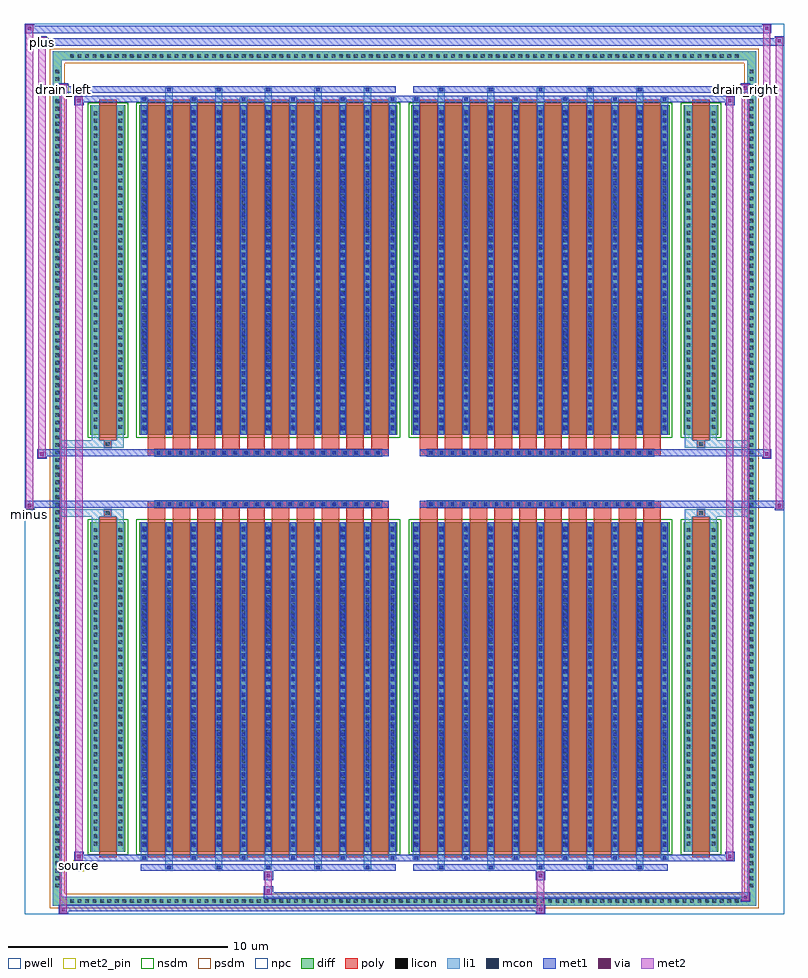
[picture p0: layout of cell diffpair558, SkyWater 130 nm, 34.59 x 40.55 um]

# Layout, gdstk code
import gdstk
lib = gdstk.Library(unit=1e-6, precision=5e-09)
def R(c, l, rs):  # rectangles x0, y0, x1, y1
    for r in rs: c.add(gdstk.rectangle(r[:2], r[2:], *l))
def A(c, l, x, y, w, h, nx, ny, dx, dy):  # array of equal rectangles
    R(c, l, [(x+i*dx, y+j*dy, x+i*dx+w, y+j*dy+h) for i in range(nx) for j in range(ny)])
def P(c, l, *ps):  # polygons
    for p in ps: c.add(gdstk.Polygon(p, *l))
pwell = (64, 44)
diff = (65, 20)
poly = (66, 20)
licon = (66, 44)
li1 = (67, 20)
mcon = (67, 44)
met1 = (68, 20)
via = (68, 44)
met2_pin = (69, 16)
met2 = (69, 20)
nsdm = (93, 44)
psdm = (94, 20)
npc = (95, 20)

diffpair558 = lib.new_cell('diffpair558')
R(diffpair558, pwell, [(-17.28,-19.84,17.28,20.71), (-14.6,-18.03,-0.01,-0.805), (0.01,-18.03,14.6,-0.805), (-14.6,0.805,-0.01,18.03), (0.01,0.805,14.6,18.03)])
A(diffpair558, diff, -15.335, -19.44, 0.41, 0.41, 90, 2, 0.34, 38.47)
A(diffpair558, diff, -16.01, -18.735, 0.41, 0.41, 1, 110, 0, 0.34)
A(diffpair558, diff, 15.6, -18.735, 0.41, 0.41, 1, 110, 0, 0.34)
R(diffpair558, diff, [(-15.335,-19.44,15.335,-19.03), (-16.01,-18.735,-15.6,18.735), (15.6,-18.735,16.01,18.735), (-14.29,-16.985,-12.71,-1.985), (-12.07,-16.985,-0.32,-1.985), (0.32,-16.985,12.07,-1.985), (12.71,-16.985,14.29,-1.985), (-14.29,1.985,-12.71,16.985), (-12.07,1.985,-0.32,16.985), (0.32,1.985,12.07,16.985), (12.71,1.985,14.29,16.985), (-15.335,19.03,15.335,19.44)])
P(diffpair558, diff, [(16.01,19.44),(-16.01,19.44),(-16.01,-19.03),(-15.6,-19.03),(-15.6,19.03),(15.6,19.03),(15.6,-19.03),(-15.6,-19.03),(-16.01,-19.03),(-16.01,-19.44),(16.01,-19.44)])
A(diffpair558, poly, -11.68, -17.235, 0.8, 15.5, 10, 2, 1.13, 18.97)
A(diffpair558, poly, 0.71, -17.235, 0.8, 15.5, 10, 2, 1.13, 18.97)
A(diffpair558, poly, -11.68, -1.735, 0.8, 0.4, 10, 2, 1.13, 3.07)
A(diffpair558, poly, 0.71, -1.735, 0.8, 0.4, 10, 2, 1.13, 3.07)
A(diffpair558, poly, -11.36, -1.335, 0.33, 0.33, 21, 2, 0.5, 2.34)
A(diffpair558, poly, 1.03, -1.335, 0.33, 0.33, 21, 2, 0.5, 2.34)
R(diffpair558, poly, [(-13.9,-17.235,-13.1,-1.735), (13.1,-17.235,13.9,-1.735), (-13.665,-1.735,-13.335,-1.405), (-13.665,-1.735,-13.335,-1.405), (13.335,-1.735,13.665,-1.405), (13.335,-1.735,13.665,-1.405), (-11.68,-1.335,-0.71,-1.005), (0.71,-1.335,11.68,-1.005), (-11.68,1.005,-0.71,1.335), (0.71,1.005,11.68,1.335), (-13.665,1.405,-13.335,1.735), (-13.665,1.405,-13.335,1.735), (13.335,1.405,13.665,1.735), (13.335,1.405,13.665,1.735), (-13.9,1.735,-13.1,17.235), (13.1,1.735,13.9,17.235)])
A(diffpair558, licon, -15.215, -19.32, 0.17, 0.17, 90, 2, 0.34, 38.47)
A(diffpair558, licon, -15.89, -18.615, 0.17, 0.17, 1, 110, 0, 0.34)
A(diffpair558, licon, 15.72, -18.615, 0.17, 0.17, 1, 110, 0, 0.34)
A(diffpair558, licon, -14.15, -16.71, 0.17, 0.17, 1, 43, 0, 0.34)
A(diffpair558, licon, -13.02, -16.71, 0.17, 0.17, 1, 43, 0, 0.34)
A(diffpair558, licon, -11.93, -16.71, 0.17, 0.17, 11, 43, 1.13, 0.34)
A(diffpair558, licon, 0.46, -16.71, 0.17, 0.17, 11, 43, 1.13, 0.34)
A(diffpair558, licon, 12.85, -16.71, 0.17, 0.17, 1, 43, 0, 0.34)
A(diffpair558, licon, 13.98, -16.71, 0.17, 0.17, 1, 43, 0, 0.34)
A(diffpair558, licon, -11.28, -1.255, 0.17, 0.17, 21, 2, 0.5, 2.34)
A(diffpair558, licon, 1.11, -1.255, 0.17, 0.17, 21, 2, 0.5, 2.34)
A(diffpair558, licon, -14.15, 2.26, 0.17, 0.17, 1, 43, 0, 0.34)
A(diffpair558, licon, -13.02, 2.26, 0.17, 0.17, 1, 43, 0, 0.34)
A(diffpair558, licon, -11.93, 2.26, 0.17, 0.17, 11, 43, 1.13, 0.34)
A(diffpair558, licon, 0.46, 2.26, 0.17, 0.17, 11, 43, 1.13, 0.34)
A(diffpair558, licon, 12.85, 2.26, 0.17, 0.17, 1, 43, 0, 0.34)
A(diffpair558, licon, 13.98, 2.26, 0.17, 0.17, 1, 43, 0, 0.34)
R(diffpair558, licon, [(-13.585,-1.655,-13.415,-1.485), (13.415,-1.655,13.585,-1.485), (-13.585,1.485,-13.415,1.655), (13.415,1.485,13.585,1.655)])
A(diffpair558, li1, -15.295, -19.4, 0.33, 0.33, 90, 2, 0.34, 38.47)
A(diffpair558, li1, -15.97, -18.695, 0.33, 0.33, 1, 110, 0, 0.34)
A(diffpair558, li1, 15.64, -18.695, 0.33, 0.33, 1, 110, 0, 0.34)
A(diffpair558, li1, -10.88, -17.79, 0.33, 0.805, 5, 2, 2.26, 34.775)
A(diffpair558, li1, -10.8, -17.79, 0.17, 0.17, 5, 2, 2.26, 35.41)
A(diffpair558, li1, 1.51, -17.79, 0.33, 0.805, 5, 2, 2.26, 34.775)
A(diffpair558, li1, 1.59, -17.79, 0.17, 0.17, 5, 2, 2.26, 35.41)
A(diffpair558, li1, -12.01, -17.36, 0.33, 0.375, 6, 2, 2.26, 34.345)
A(diffpair558, li1, -11.93, -17.36, 0.17, 0.17, 6, 2, 2.26, 34.55)
A(diffpair558, li1, 0.38, -17.36, 0.33, 0.375, 6, 2, 2.26, 34.345)
A(diffpair558, li1, 0.46, -17.36, 0.17, 0.17, 6, 2, 2.26, 34.55)
A(diffpair558, li1, -12.01, -16.985, 0.33, 15, 11, 2, 1.13, 18.97)
A(diffpair558, li1, 0.38, -16.985, 0.33, 15, 11, 2, 1.13, 18.97)
A(diffpair558, li1, -14.23, -16.79, 0.33, 0.33, 1, 43, 0, 0.34)
A(diffpair558, li1, -13.1, -16.79, 0.33, 0.33, 1, 43, 0, 0.34)
A(diffpair558, li1, -12.01, -16.79, 0.33, 0.33, 11, 43, 1.13, 0.34)
A(diffpair558, li1, 0.38, -16.79, 0.33, 0.33, 11, 43, 1.13, 0.34)
A(diffpair558, li1, 12.77, -16.79, 0.33, 0.33, 1, 43, 0, 0.34)
A(diffpair558, li1, 13.9, -16.79, 0.33, 0.33, 1, 43, 0, 0.34)
A(diffpair558, li1, -11.93, -16.77, 0.17, 0.17, 11, 41, 1.13, 0.36)
A(diffpair558, li1, -11.93, -16.77, 0.17, 14.57, 11, 2, 1.13, 18.97)
A(diffpair558, li1, 0.46, -16.77, 0.17, 0.17, 11, 41, 1.13, 0.36)
A(diffpair558, li1, 0.46, -16.77, 0.17, 14.57, 11, 2, 1.13, 18.97)
A(diffpair558, li1, -11.36, -1.335, 0.33, 0.33, 21, 2, 0.5, 2.34)
A(diffpair558, li1, 1.03, -1.335, 0.33, 0.33, 21, 2, 0.5, 2.34)
A(diffpair558, li1, -14.23, 2.18, 0.33, 0.33, 1, 43, 0, 0.34)
A(diffpair558, li1, -13.1, 2.18, 0.33, 0.33, 1, 43, 0, 0.34)
A(diffpair558, li1, -12.01, 2.18, 0.33, 0.33, 11, 43, 1.13, 0.34)
A(diffpair558, li1, 0.38, 2.18, 0.33, 0.33, 11, 43, 1.13, 0.34)
A(diffpair558, li1, 12.77, 2.18, 0.33, 0.33, 1, 43, 0, 0.34)
A(diffpair558, li1, 13.9, 2.18, 0.33, 0.33, 1, 43, 0, 0.34)
A(diffpair558, li1, -11.93, 2.2, 0.17, 0.17, 11, 41, 1.13, 0.36)
A(diffpair558, li1, 0.46, 2.2, 0.17, 0.17, 11, 41, 1.13, 0.36)
R(diffpair558, li1, [(-16.01,-19.44,-15.6,-19.03), (-16.01,-19.44,-15.6,-19.03), (-15.6,-19.44,15.6,-19.03), (15.6,-19.44,16.01,-19.03), (15.6,-19.44,16.01,-19.03), (-16.01,-19.03,-15.6,19.03), (15.6,-19.03,16.01,19.03), (-14.23,-16.985,-13.9,-1.985), (-13.1,-16.985,-12.77,-1.985), (12.77,-16.985,13.1,-1.985), (13.9,-16.985,14.23,-1.985), (-14.23,-1.985,-13.9,-1.405), (-13.1,-1.985,-12.77,-1.405), (12.77,-1.985,13.1,-1.405), (13.9,-1.985,14.23,-1.405), (-16.01,-1.735,-13.665,-1.405), (-14.23,-1.735,-13.665,-1.405), (-13.665,-1.735,-13.335,-1.405), (-13.335,-1.735,-12.77,-1.405), (12.77,-1.735,13.335,-1.405), (13.335,-1.735,13.665,-1.405), (13.335,-1.735,16.01,-1.405), (13.665,-1.735,14.23,-1.405), (-16.01,1.405,-13.665,1.735), (-14.23,1.405,-13.665,1.735), (-14.23,1.405,-13.9,1.985), (-13.665,1.405,-13.335,1.735), (-13.335,1.405,-12.77,1.735), (-13.1,1.405,-12.77,1.985), (12.77,1.405,13.335,1.735), (12.77,1.405,13.1,1.985), (13.335,1.405,13.665,1.735), (13.335,1.405,16.01,1.735), (13.665,1.405,14.23,1.735), (13.9,1.405,14.23,1.985), (-14.23,1.985,-13.9,16.985), (-13.1,1.985,-12.77,16.985), (12.77,1.985,13.1,16.985), (13.9,1.985,14.23,16.985), (-16.01,19.03,-15.6,19.44), (-16.01,19.03,-15.6,19.44), (-15.6,19.03,15.6,19.44), (15.6,19.03,16.01,19.44), (15.6,19.03,16.01,19.44)])
A(diffpair558, mcon, -10.8, -17.79, 0.17, 0.17, 5, 2, 2.26, 35.41)
A(diffpair558, mcon, 1.59, -17.79, 0.17, 0.17, 5, 2, 2.26, 35.41)
A(diffpair558, mcon, -11.93, -17.36, 0.17, 0.17, 6, 2, 2.26, 34.55)
A(diffpair558, mcon, 0.46, -17.36, 0.17, 0.17, 6, 2, 2.26, 34.55)
A(diffpair558, mcon, -11.93, -16.77, 0.17, 0.17, 11, 41, 1.13, 0.36)
A(diffpair558, mcon, 0.46, -16.77, 0.17, 0.17, 11, 41, 1.13, 0.36)
A(diffpair558, mcon, -11.28, -1.255, 0.17, 0.17, 21, 2, 0.5, 2.34)
A(diffpair558, mcon, 1.11, -1.255, 0.17, 0.17, 21, 2, 0.5, 2.34)
A(diffpair558, mcon, -11.93, 2.2, 0.17, 0.17, 11, 41, 1.13, 0.36)
A(diffpair558, mcon, 0.46, 2.2, 0.17, 0.17, 11, 41, 1.13, 0.36)
A(diffpair558, met1, -10.86, -17.85, 0.29, 0.29, 5, 2, 2.26, 35.41)
A(diffpair558, met1, 1.53, -17.85, 0.29, 0.29, 5, 2, 2.26, 35.41)
A(diffpair558, met1, -11.99, -17.42, 0.29, 0.29, 6, 2, 2.26, 34.55)
A(diffpair558, met1, 0.4, -17.42, 0.29, 0.29, 6, 2, 2.26, 34.55)
A(diffpair558, met1, -11.99, -16.985, 0.29, 15, 11, 2, 1.13, 18.97)
A(diffpair558, met1, 0.4, -16.985, 0.29, 15, 11, 2, 1.13, 18.97)
A(diffpair558, met1, -11.99, -16.83, 0.29, 0.29, 11, 41, 1.13, 0.36)
A(diffpair558, met1, 0.4, -16.83, 0.29, 0.29, 11, 41, 1.13, 0.36)
A(diffpair558, met1, -11.34, -1.315, 0.29, 0.29, 21, 2, 0.5, 2.34)
A(diffpair558, met1, 1.05, -1.315, 0.29, 0.29, 21, 2, 0.5, 2.34)
A(diffpair558, met1, -11.99, 2.14, 0.29, 0.29, 11, 41, 1.13, 0.36)
A(diffpair558, met1, 0.4, 2.14, 0.29, 0.29, 11, 41, 1.13, 0.36)
R(diffpair558, met1, [(-15.74,-19.84,-15.31,-19.41), (5.98,-19.84,6.41,-19.41), (-15.74,-19.7,6.41,-19.41), (15.31,-19.27,15.74,-18.84), (-6.41,-19.13,15.74,-18.84), (-6.41,-18.99,-5.98,-18.56), (-6.41,-18.28,-5.98,-17.85), (5.98,-18.28,6.41,-17.85), (-11.99,-17.85,-0.4,-17.56), (0.4,-17.85,11.99,-17.56), (-15.03,-17.42,-14.6,-16.99), (-15.03,-17.42,-11.99,-17.13), (-11.99,-17.42,-0.4,-17.13), (-0.4,-17.42,0.4,-17.13), (0.4,-17.42,11.99,-17.13), (11.99,-17.42,15.03,-17.13), (14.6,-17.42,15.03,-16.99), (-17.28,-1.435,-16.85,-1.005), (16.85,-1.435,17.28,-1.005), (-17.28,-1.335,-0.71,-1.005), (-11.68,-1.335,-0.71,-1.005), (0.71,-1.335,11.68,-1.005), (0.71,-1.335,17.28,-1.005), (-16.71,0.905,-16.28,1.335), (16.28,0.905,16.71,1.335), (-16.71,1.005,-11.68,1.335), (-11.68,1.005,-0.71,1.335), (0.71,1.005,11.68,1.335), (11.68,1.005,16.71,1.335), (-15.03,16.99,-14.6,17.42), (14.6,16.99,15.03,17.42), (-15.03,17.13,-11.99,17.42), (-11.99,17.13,-0.4,17.42), (-0.4,17.13,0.4,17.42), (0.4,17.13,11.99,17.42), (11.99,17.13,15.03,17.42), (-15.74,17.56,-15.31,17.99), (-15.74,17.56,-11.99,17.85), (-11.99,17.56,-0.4,17.85), (0.4,17.56,11.99,17.85), (11.99,17.56,15.74,17.85), (15.31,17.56,15.74,17.99), (-16.71,19.71,-16.28,20.14), (-16.71,19.71,-14.6,20.04), (-14.6,19.71,14.6,20.04), (14.6,19.71,17.28,20.04), (16.85,19.71,17.28,20.14), (-17.28,20.28,-16.85,20.71), (-17.28,20.28,-14.6,20.61), (-14.6,20.28,14.6,20.61), (14.6,20.28,16.71,20.61), (16.28,20.28,16.71,20.71)])
R(diffpair558, via, [(-15.6,-19.7,-15.45,-19.55), (6.12,-19.7,6.27,-19.55), (15.45,-19.13,15.6,-18.98), (-6.27,-18.85,-6.12,-18.7), (-6.27,-18.14,-6.12,-17.99), (6.12,-18.14,6.27,-17.99), (-14.89,-17.28,-14.74,-17.13), (14.74,-17.28,14.89,-17.13), (-17.14,-1.295,-16.99,-1.145), (16.99,-1.295,17.14,-1.145), (-16.57,1.045,-16.42,1.195), (16.42,1.045,16.57,1.195), (-14.89,17.13,-14.74,17.28), (14.74,17.13,14.89,17.28), (-15.6,17.7,-15.45,17.85), (15.45,17.7,15.6,17.85), (-16.57,19.85,-16.42,20), (16.99,19.85,17.14,20), (-17.14,20.42,-16.99,20.57), (16.42,20.42,16.57,20.57)])
R(diffpair558, met2_pin, [(-15.065,-17.87,-14.565,-17.37), (-17.315,-1.885,-16.815,-1.385), (-15.775,17.44,-15.275,17.94), (15.275,17.44,15.775,17.94), (-16.745,19.59,-16.245,20.09)])
R(diffpair558, met2, [(-15.69,-19.79,-15.36,-19.46), (-15.69,-19.79,-15.36,17.94), (6.03,-19.79,6.36,-19.46), (6.03,-19.46,6.36,-18.23), (15.36,-19.22,15.69,-18.89), (15.36,-19.22,15.69,17.94), (-6.36,-18.94,-6.03,-18.61), (-6.36,-18.61,-6.03,-18.23), (-6.36,-18.23,-6.03,-17.9), (6.03,-18.23,6.36,-17.9), (-14.98,-17.37,-14.65,-17.04), (-14.98,-17.37,-14.65,17.37), (14.65,-17.37,14.98,-17.04), (14.65,-17.37,14.98,17.37), (-17.23,-1.385,-16.9,-1.055), (-17.23,-1.385,-16.9,20.66), (16.9,-1.385,17.23,-1.055), (16.9,-1.385,17.23,20.09), (-16.66,0.955,-16.33,1.285), (-16.66,0.955,-16.33,20.09), (16.33,0.955,16.66,1.285), (16.33,0.955,16.66,20.66), (-14.98,17.04,-14.65,17.37), (14.65,17.04,14.98,17.37), (-15.69,17.61,-15.36,17.94), (15.36,17.61,15.69,17.94), (-16.66,19.76,-16.33,20.09), (16.9,19.76,17.23,20.09), (-17.23,20.33,-16.9,20.66), (16.33,20.33,16.66,20.66)])
P(diffpair558, met2, [(17.23,-1.385),(17.23,-1.385),(17.23,-1.055),(17.23,-1.055)],
  [(17.23,19.76),(17.23,19.76),(17.23,20.09),(17.23,20.09)],
  [(-16.9,-1.385),(-16.9,-1.385),(-16.9,-1.055),(-16.9,-1.055)],
  [(-16.9,20.33),(-16.9,20.33),(-16.9,20.66),(-16.9,20.66)],
  [(16.66,0.955),(16.66,0.955),(16.66,1.285),(16.66,1.285)],
  [(16.66,20.33),(16.66,20.33),(16.66,20.66),(16.66,20.66)],
  [(-16.33,0.955),(-16.33,0.955),(-16.33,1.285),(-16.33,1.285)],
  [(-16.33,19.76),(-16.33,19.76),(-16.33,20.09),(-16.33,20.09)],
  [(-15.36,-19.79),(-15.36,-19.79),(-15.36,-19.46),(-15.36,-19.46)],
  [(-15.36,17.61),(-15.36,17.61),(-15.36,17.94),(-15.36,17.94)],
  [(15.69,-19.22),(15.69,-19.22),(15.69,-18.89),(15.69,-18.89)],
  [(15.69,17.61),(15.69,17.61),(15.69,17.94),(15.69,17.94)],
  [(-14.65,-17.37),(-14.65,-17.37),(-14.65,-17.04),(-14.65,-17.04)],
  [(-14.65,17.04),(-14.65,17.04),(-14.65,17.37),(-14.65,17.37)],
  [(14.98,-17.37),(14.98,-17.37),(14.98,-17.04),(14.98,-17.04)],
  [(14.98,17.04),(14.98,17.04),(14.98,17.37),(14.98,17.37)])
R(diffpair558, nsdm, [(-14.42,-17.115,-12.58,-1.855), (-12.2,-17.115,-0.19,-1.855), (0.19,-17.115,12.2,-1.855), (12.58,-17.115,14.42,-1.855), (-14.42,1.855,-12.58,17.115), (-12.2,1.855,-0.19,17.115), (0.19,1.855,12.2,17.115), (12.58,1.855,14.42,17.115)])
P(diffpair558, psdm, [(16.14,19.57),(-16.14,19.57),(-16.14,-18.9),(-15.47,-18.9),(-15.47,18.9),(15.47,18.9),(15.47,-18.9),(-15.47,-18.9),(-16.14,-18.9),(-16.14,-19.57),(16.14,-19.57)])
A(diffpair558, npc, -11.38, -1.355, 0.37, 0.37, 21, 2, 0.5, 2.34)
A(diffpair558, npc, 1.01, -1.355, 0.37, 0.37, 21, 2, 0.5, 2.34)
R(diffpair558, npc, [(-13.685,-1.755,-13.315,-1.385), (13.315,-1.755,13.685,-1.385), (-11.38,-1.355,-10.51,-0.985), (-11.38,-1.355,-10.51,-0.985), (-10.88,-1.355,-10.01,-0.985), (-10.88,-1.355,-10.01,-0.985), (-10.38,-1.355,-9.51,-0.985), (-10.38,-1.355,-9.51,-0.985), (-9.88,-1.355,-9.01,-0.985), (-9.88,-1.355,-9.01,-0.985), (-9.38,-1.355,-8.51,-0.985), (-9.38,-1.355,-8.51,-0.985), (-8.88,-1.355,-8.01,-0.985), (-8.88,-1.355,-8.01,-0.985), (-8.38,-1.355,-7.51,-0.985), (-8.38,-1.355,-7.51,-0.985), (-7.88,-1.355,-7.01,-0.985), (-7.88,-1.355,-7.01,-0.985), (-7.38,-1.355,-6.51,-0.985), (-7.38,-1.355,-6.51,-0.985), (-6.88,-1.355,-6.01,-0.985), (-6.88,-1.355,-6.01,-0.985), (-6.38,-1.355,-5.51,-0.985), (-6.38,-1.355,-5.51,-0.985), (-5.88,-1.355,-5.01,-0.985), (-5.88,-1.355,-5.01,-0.985), (-5.38,-1.355,-4.51,-0.985), (-5.38,-1.355,-4.51,-0.985), (-4.88,-1.355,-4.01,-0.985), (-4.88,-1.355,-4.01,-0.985), (-4.38,-1.355,-3.51,-0.985), (-4.38,-1.355,-3.51,-0.985), (-3.88,-1.355,-3.01,-0.985), (-3.88,-1.355,-3.01,-0.985), (-3.38,-1.355,-2.51,-0.985), (-3.38,-1.355,-2.51,-0.985), (-2.88,-1.355,-2.01,-0.985), (-2.88,-1.355,-2.01,-0.985), (-2.38,-1.355,-1.51,-0.985), (-2.38,-1.355,-1.51,-0.985), (-1.88,-1.355,-1.01,-0.985), (-1.88,-1.355,-1.01,-0.985), (1.01,-1.355,1.88,-0.985), (1.01,-1.355,1.88,-0.985), (1.51,-1.355,2.38,-0.985), (1.51,-1.355,2.38,-0.985), (2.01,-1.355,2.88,-0.985), (2.01,-1.355,2.88,-0.985), (2.51,-1.355,3.38,-0.985), (2.51,-1.355,3.38,-0.985), (3.01,-1.355,3.88,-0.985), (3.01,-1.355,3.88,-0.985), (3.51,-1.355,4.38,-0.985), (3.51,-1.355,4.38,-0.985), (4.01,-1.355,4.88,-0.985), (4.01,-1.355,4.88,-0.985), (4.51,-1.355,5.38,-0.985), (4.51,-1.355,5.38,-0.985), (5.01,-1.355,5.88,-0.985), (5.01,-1.355,5.88,-0.985), (5.51,-1.355,6.38,-0.985), (5.51,-1.355,6.38,-0.985), (6.01,-1.355,6.88,-0.985), (6.01,-1.355,6.88,-0.985), (6.51,-1.355,7.38,-0.985), (6.51,-1.355,7.38,-0.985), (7.01,-1.355,7.88,-0.985), (7.01,-1.355,7.88,-0.985), (7.51,-1.355,8.38,-0.985), (7.51,-1.355,8.38,-0.985), (8.01,-1.355,8.88,-0.985), (8.01,-1.355,8.88,-0.985), (8.51,-1.355,9.38,-0.985), (8.51,-1.355,9.38,-0.985), (9.01,-1.355,9.88,-0.985), (9.01,-1.355,9.88,-0.985), (9.51,-1.355,10.38,-0.985), (9.51,-1.355,10.38,-0.985), (10.01,-1.355,10.88,-0.985), (10.01,-1.355,10.88,-0.985), (10.51,-1.355,11.38,-0.985), (10.51,-1.355,11.38,-0.985), (-11.38,0.985,-10.51,1.355), (-11.38,0.985,-10.51,1.355), (-10.88,0.985,-10.01,1.355), (-10.88,0.985,-10.01,1.355), (-10.38,0.985,-9.51,1.355), (-10.38,0.985,-9.51,1.355), (-9.88,0.985,-9.01,1.355), (-9.88,0.985,-9.01,1.355), (-9.38,0.985,-8.51,1.355), (-9.38,0.985,-8.51,1.355), (-8.88,0.985,-8.01,1.355), (-8.88,0.985,-8.01,1.355), (-8.38,0.985,-7.51,1.355), (-8.38,0.985,-7.51,1.355), (-7.88,0.985,-7.01,1.355), (-7.88,0.985,-7.01,1.355), (-7.38,0.985,-6.51,1.355), (-7.38,0.985,-6.51,1.355), (-6.88,0.985,-6.01,1.355), (-6.88,0.985,-6.01,1.355), (-6.38,0.985,-5.51,1.355), (-6.38,0.985,-5.51,1.355), (-5.88,0.985,-5.01,1.355), (-5.88,0.985,-5.01,1.355), (-5.38,0.985,-4.51,1.355), (-5.38,0.985,-4.51,1.355), (-4.88,0.985,-4.01,1.355), (-4.88,0.985,-4.01,1.355), (-4.38,0.985,-3.51,1.355), (-4.38,0.985,-3.51,1.355), (-3.88,0.985,-3.01,1.355), (-3.88,0.985,-3.01,1.355), (-3.38,0.985,-2.51,1.355), (-3.38,0.985,-2.51,1.355), (-2.88,0.985,-2.01,1.355), (-2.88,0.985,-2.01,1.355), (-2.38,0.985,-1.51,1.355), (-2.38,0.985,-1.51,1.355), (-1.88,0.985,-1.01,1.355), (-1.88,0.985,-1.01,1.355), (1.01,0.985,1.88,1.355), (1.01,0.985,1.88,1.355), (1.51,0.985,2.38,1.355), (1.51,0.985,2.38,1.355), (2.01,0.985,2.88,1.355), (2.01,0.985,2.88,1.355), (2.51,0.985,3.38,1.355), (2.51,0.985,3.38,1.355), (3.01,0.985,3.88,1.355), (3.01,0.985,3.88,1.355), (3.51,0.985,4.38,1.355), (3.51,0.985,4.38,1.355), (4.01,0.985,4.88,1.355), (4.01,0.985,4.88,1.355), (4.51,0.985,5.38,1.355), (4.51,0.985,5.38,1.355), (5.01,0.985,5.88,1.355), (5.01,0.985,5.88,1.355), (5.51,0.985,6.38,1.355), (5.51,0.985,6.38,1.355), (6.01,0.985,6.88,1.355), (6.01,0.985,6.88,1.355), (6.51,0.985,7.38,1.355), (6.51,0.985,7.38,1.355), (7.01,0.985,7.88,1.355), (7.01,0.985,7.88,1.355), (7.51,0.985,8.38,1.355), (7.51,0.985,8.38,1.355), (8.01,0.985,8.88,1.355), (8.01,0.985,8.88,1.355), (8.51,0.985,9.38,1.355), (8.51,0.985,9.38,1.355), (9.01,0.985,9.88,1.355), (9.01,0.985,9.88,1.355), (9.51,0.985,10.38,1.355), (9.51,0.985,10.38,1.355), (10.01,0.985,10.88,1.355), (10.01,0.985,10.88,1.355), (10.51,0.985,11.38,1.355), (10.51,0.985,11.38,1.355), (-13.685,1.385,-13.315,1.755), (13.315,1.385,13.685,1.755)])
diffpair558.add(gdstk.Label('minus', (-17.065,-1.635), layer=69, texttype=5))
diffpair558.add(gdstk.Label('drain_right', (15.525,17.69), layer=69, texttype=5))
diffpair558.add(gdstk.Label('drain_left', (-15.525,17.69), layer=69, texttype=5))
diffpair558.add(gdstk.Label('source', (-14.815,-17.62), layer=69, texttype=5))
diffpair558.add(gdstk.Label('plus', (-16.495,19.84), layer=69, texttype=5))

lib.write_gds('diffpair558.gds')
